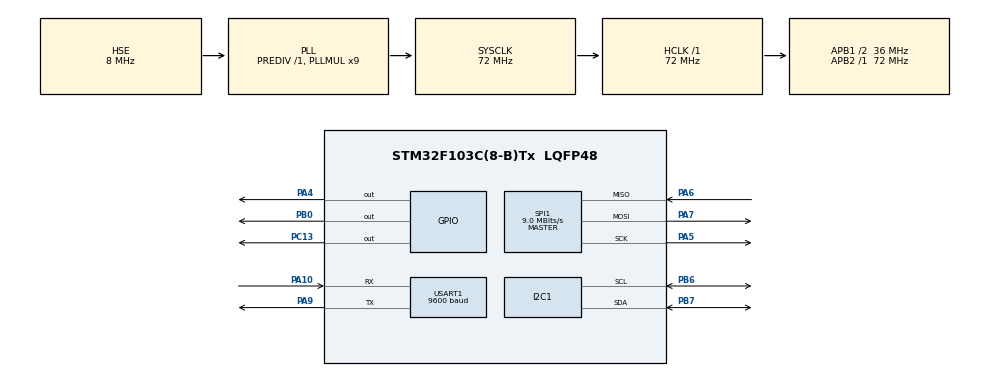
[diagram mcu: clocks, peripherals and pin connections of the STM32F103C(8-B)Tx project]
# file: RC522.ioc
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Mcu.Family=STM32F1
Mcu.Name=STM32F103C(8-B)Tx
Mcu.Package=LQFP48
NVIC.PriorityGroup=NVIC_PRIORITYGROUP_4
NVIC.USART1_IRQn=true\:0\:0\:false\:false\:true\:true\:true\:true
PA10.Mode=Asynchronous
PA10.Signal=USART1_RX
PA13.Mode=Serial_Wire
PA13.Signal=SYS_JTMS-SWDIO
PA14.Mode=Serial_Wire
PA14.Signal=SYS_JTCK-SWCLK
PA4.Signal=GPIO_Output
PA5.Mode=Full_Duplex_Master
PA5.Signal=SPI1_SCK
PA6.Mode=Full_Duplex_Master
PA6.Signal=SPI1_MISO
PA7.Mode=Full_Duplex_Master
PA7.Signal=SPI1_MOSI
PA9.Mode=Asynchronous
PA9.Signal=USART1_TX
PB0.Signal=GPIO_Output
PB6.Mode=I2C
PB6.Signal=I2C1_SCL
PB7.Mode=I2C
PB7.Signal=I2C1_SDA
PC13-TAMPER-RTC.Signal=GPIO_Output
PD0-OSC_IN.Mode=HSE-External-Oscillator
PD0-OSC_IN.Signal=RCC_OSC_IN
PD1-OSC_OUT.Mode=HSE-External-Oscillator
PD1-OSC_OUT.Signal=RCC_OSC_OUT
ProjectManager.HeapSize=0x200
ProjectManager.StackSize=0x400
ProjectManager.TargetToolchain=STM32CubeIDE
RCC.AHBFreq_Value=72000000
RCC.APB1CLKDivider=RCC_HCLK_DIV2
RCC.APB1Freq_Value=36000000
RCC.APB1TimFreq_Value=72000000
RCC.APB2Freq_Value=72000000
RCC.APB2TimFreq_Value=72000000
RCC.HCLKFreq_Value=72000000
RCC.PLLMUL=RCC_PLL_MUL9
RCC.PLLSourceVirtual=RCC_PLLSOURCE_HSE
RCC.SYSCLKFreq_VALUE=72000000
RCC.SYSCLKSource=RCC_SYSCLKSOURCE_PLLCLK
RCC.USBFreq_Value=72000000
SPI1.BaudRatePrescaler=SPI_BAUDRATEPRESCALER_8
SPI1.CalculateBaudRate=9.0 MBits/s
SPI1.Direction=SPI_DIRECTION_2LINES
SPI1.Mode=SPI_MODE_MASTER
SPI1.VirtualType=VM_MASTER
USART1.BaudRate=9600
USART1.VirtualMode=VM_ASYNC
board=custom

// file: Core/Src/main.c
/* USER CODE BEGIN Header */
/**
  ******************************************************************************
  * @file           : main.c
  * @brief          : Main program body
  ******************************************************************************
  * @attention
  *
  * Copyright (c) 2024 STMicroelectronics.
  * All rights reserved.
  *
  * This software is licensed under terms that can be found in the LICENSE file
  * in the root directory of this software component.
  * If no LICENSE file comes with this software, it is provided AS-IS.
  *
  ******************************************************************************
  */
/* USER CODE END Header */
#include "main.h"

/* USER CODE BEGIN Includes */
#include "liquidcrystal_i2c.h"
#include "Rc522.h"
#include "string.h"

/* USER CODE END Includes */

I2C_HandleTypeDef hi2c1;

SPI_HandleTypeDef hspi1;

UART_HandleTypeDef huart1;

/* USER CODE BEGIN PV */
uint8_t status1;
uint8_t status;
uint8_t status2;
uint8_t str[MAX_LEN]; // Max_LEN = 16
uint8_t sNum[5];
/* USER CODE END PV */

void SystemClock_Config(void);
static void MX_GPIO_Init(void);
static void MX_SPI1_Init(void);
static void MX_I2C1_Init(void);
static void MX_USART1_UART_Init(void);
/* USER CODE BEGIN PFP */
uint8_t buff_tx[] = "stm32_to_esp32\n";
uint8_t buff_rx[30];
uint8_t data_rx[30];
uint32_t count;
uint8_t rx_index = 0;
uint32_t tm=0,tt= 0;
uint32_t counter = 0; // Biến lưu số tick (mili giây)
/* USER CODE END PFP */

/* USER CODE BEGIN 0 */
void HAL_UART_RxCpltCallback(UART_HandleTypeDef *huart)
{
//	if(huart->Instance == USART1)
//	{
//		buff_rx[rx_index] = data_rx;
//		rx_index ++;
//		HAL_UART_Receive_IT(&huart, &data_rx, sizeof(data_rx),1000);
//	}
}
/* USER CODE END 0 */

int main(void)
{

  /* MCU Configuration--------------------------------------------------------*/

  /* Reset of all peripherals, Initializes the Flash interface and the Systick. */
  HAL_Init();

  /* Configure the system clock */
  SystemClock_Config();

  /* Initialize all configured peripherals */
  MX_GPIO_Init();
  MX_SPI1_Init();
  MX_I2C1_Init();
  MX_USART1_UART_Init();
  /* USER CODE BEGIN 2 */
  MFRC522_Init();
  HD44780_Init(2);
//  HAL_UART_Receive(&huart1,data_rx,sizeof(data_rx),1000);

  /* USER CODE END 2 */

  /* Infinite loop */
  /* USER CODE BEGIN WHILE */
  while (1)
  {
//	  memset((void*)data_rx,0,sizeof(data_rx));
//	  HAL_UART_Receive(&huart1,(uint8_t*)data_rx,sizeof(data_rx),1000);
//	  //HAL_Delay(2000);
//	  if(strlen((char*)data_rx)>5)
//	  {
//		  HAL_UART_Transmit(&huart1,buff_rx,strlen((char*)buff_rx) + 1  ,HAL_MAX_DELAY);
//		  HAL_UART_Transmit(&huart1,data_rx,strlen((char*)data_rx) + 1  ,HAL_MAX_DELAY);
//		  HD44780_SetCursor(0,0);
//		  HD44780_PrintStr(	(char*)data_rx);
//	  }
//	  HAL_Delay(20);
				status = MFRC522_Request(PICC_REQIDL, str);
				status = MFRC522_Anticoll(str);
				memcpy(sNum, str, 5);
//	//	  	    HAL_Delay(100);
				 if((str[0]==1) && (str[1]==193) && (str[2]==227) && (str[3]==38) && (str[4]==5) )
				 {
				   //HAL_GPIO_WritePin(GPIOC,GPIO_PIN_13,0);
				   HAL_Delay(100);
				   HD44780_Clear();
				   HD44780_SetCursor(0,0);
				   HD44780_PrintStr("ON");
				   HAL_Delay(500);
//					  memset((void*)data_rx,0,sizeof(data_rx));
//					  HAL_UART_Receive(&huart1,(uint8_t*)data_rx,sizeof(data_rx),1000);
//					  //HAL_Delay(2000);
//					  if(strlen((char*)data_rx)>5)
//					  {
//						  HAL_UART_Transmit(&huart1,buff_rx,strlen((char*)buff_rx) + 1  ,HAL_MAX_DELAY);
//						  HAL_UART_Transmit(&huart1,data_rx,strlen((char*)data_rx) + 1  ,HAL_MAX_DELAY);
//						  HD44780_SetCursor(0,0);
//						  HD44780_PrintStr(	(char*)data_rx);
//					  }
//					  HAL_Delay(20);
				   }
				 else if((str[0]==147) && (str[1]==132) && (str[2]==128) && (str[3]==0) && (str[4]==0) )
				   {
				   HAL_GPIO_WritePin(GPIOC,GPIO_PIN_13,0);
				 }
				 else
				 {
					HAL_GPIO_WritePin(GPIOC,GPIO_PIN_13,1);
					HD44780_Clear();
					HD44780_SetCursor(0,0);
					HD44780_PrintStr("OFF");
					HAL_Delay(20);
				}
  }
    /* USER CODE END WHILE */

    /* USER CODE BEGIN 3 */
//  }
  /* USER CODE END 3 */
}

void SystemClock_Config(void)
{
  RCC_OscInitTypeDef RCC_OscInitStruct = {0};
  RCC_ClkInitTypeDef RCC_ClkInitStruct = {0};

  /** Initializes the RCC Oscillators according to the specified parameters
  * in the RCC_OscInitTypeDef structure.
  */
  RCC_OscInitStruct.OscillatorType = RCC_OSCILLATORTYPE_HSE;
  RCC_OscInitStruct.HSEState = RCC_HSE_ON;
  RCC_OscInitStruct.HSEPredivValue = RCC_HSE_PREDIV_DIV1;
  RCC_OscInitStruct.HSIState = RCC_HSI_ON;
  RCC_OscInitStruct.PLL.PLLState = RCC_PLL_ON;
  RCC_OscInitStruct.PLL.PLLSource = RCC_PLLSOURCE_HSE;
  RCC_OscInitStruct.PLL.PLLMUL = RCC_PLL_MUL9;
  if (HAL_RCC_OscConfig(&RCC_OscInitStruct) != HAL_OK)
  {
    Error_Handler();
  }

  /** Initializes the CPU, AHB and APB buses clocks
  */
  RCC_ClkInitStruct.ClockType = RCC_CLOCKTYPE_HCLK|RCC_CLOCKTYPE_SYSCLK
                              |RCC_CLOCKTYPE_PCLK1|RCC_CLOCKTYPE_PCLK2;
  RCC_ClkInitStruct.SYSCLKSource = RCC_SYSCLKSOURCE_PLLCLK;
  RCC_ClkInitStruct.AHBCLKDivider = RCC_SYSCLK_DIV1;
  RCC_ClkInitStruct.APB1CLKDivider = RCC_HCLK_DIV2;
  RCC_ClkInitStruct.APB2CLKDivider = RCC_HCLK_DIV1;

  if (HAL_RCC_ClockConfig(&RCC_ClkInitStruct, FLASH_LATENCY_2) != HAL_OK)
  {
    Error_Handler();
  }
}

static void MX_I2C1_Init(void)
{

  hi2c1.Instance = I2C1;
  hi2c1.Init.ClockSpeed = 100000;
  hi2c1.Init.DutyCycle = I2C_DUTYCYCLE_2;
  hi2c1.Init.OwnAddress1 = 0;
  hi2c1.Init.AddressingMode = I2C_ADDRESSINGMODE_7BIT;
  hi2c1.Init.DualAddressMode = I2C_DUALADDRESS_DISABLE;
  hi2c1.Init.OwnAddress2 = 0;
  hi2c1.Init.GeneralCallMode = I2C_GENERALCALL_DISABLE;
  hi2c1.Init.NoStretchMode = I2C_NOSTRETCH_DISABLE;
  if (HAL_I2C_Init(&hi2c1) != HAL_OK)
  {
    Error_Handler();
  }

}

static void MX_SPI1_Init(void)
{

  /* SPI1 parameter configuration*/
  hspi1.Instance = SPI1;
  hspi1.Init.Mode = SPI_MODE_MASTER;
  hspi1.Init.Direction = SPI_DIRECTION_2LINES;
  hspi1.Init.DataSize = SPI_DATASIZE_8BIT;
  hspi1.Init.CLKPolarity = SPI_POLARITY_LOW;
  hspi1.Init.CLKPhase = SPI_PHASE_1EDGE;
  hspi1.Init.NSS = SPI_NSS_SOFT;
  hspi1.Init.BaudRatePrescaler = SPI_BAUDRATEPRESCALER_8;
  hspi1.Init.FirstBit = SPI_FIRSTBIT_MSB;
  hspi1.Init.TIMode = SPI_TIMODE_DISABLE;
  hspi1.Init.CRCCalculation = SPI_CRCCALCULATION_DISABLE;
  hspi1.Init.CRCPolynomial = 10;
  if (HAL_SPI_Init(&hspi1) != HAL_OK)
  {
    Error_Handler();
  }

}

static void MX_USART1_UART_Init(void)
{

  huart1.Instance = USART1;
  huart1.Init.BaudRate = 9600;
  huart1.Init.WordLength = UART_WORDLENGTH_8B;
  huart1.Init.StopBits = UART_STOPBITS_1;
  huart1.Init.Parity = UART_PARITY_NONE;
  huart1.Init.Mode = UART_MODE_TX_RX;
  huart1.Init.HwFlowCtl = UART_HWCONTROL_NONE;
  huart1.Init.OverSampling = UART_OVERSAMPLING_16;
  if (HAL_UART_Init(&huart1) != HAL_OK)
  {
    Error_Handler();
  }

}

static void MX_GPIO_Init(void)
{
  GPIO_InitTypeDef GPIO_InitStruct = {0};

  /* GPIO Ports Clock Enable */
  __HAL_RCC_GPIOC_CLK_ENABLE();
  __HAL_RCC_GPIOD_CLK_ENABLE();
  __HAL_RCC_GPIOA_CLK_ENABLE();
  __HAL_RCC_GPIOB_CLK_ENABLE();

  /*Configure GPIO pin Output Level */
  HAL_GPIO_WritePin(GPIOC, GPIO_PIN_13, GPIO_PIN_RESET);

  /*Configure GPIO pin Output Level */
  HAL_GPIO_WritePin(GPIOA, GPIO_PIN_4, GPIO_PIN_RESET);

  /*Configure GPIO pin Output Level */
  HAL_GPIO_WritePin(GPIOB, GPIO_PIN_0, GPIO_PIN_RESET);

  /*Configure GPIO pin : PC13 */
  GPIO_InitStruct.Pin = GPIO_PIN_13;
  GPIO_InitStruct.Mode = GPIO_MODE_OUTPUT_PP;
  GPIO_InitStruct.Pull = GPIO_NOPULL;
  GPIO_InitStruct.Speed = GPIO_SPEED_FREQ_LOW;
  HAL_GPIO_Init(GPIOC, &GPIO_InitStruct);

  /*Configure GPIO pin : PA4 */
  GPIO_InitStruct.Pin = GPIO_PIN_4;
  GPIO_InitStruct.Mode = GPIO_MODE_OUTPUT_PP;
  GPIO_InitStruct.Pull = GPIO_NOPULL;
  GPIO_InitStruct.Speed = GPIO_SPEED_FREQ_LOW;
  HAL_GPIO_Init(GPIOA, &GPIO_InitStruct);

  /*Configure GPIO pin : PB0 */
  GPIO_InitStruct.Pin = GPIO_PIN_0;
  GPIO_InitStruct.Mode = GPIO_MODE_OUTPUT_PP;
  GPIO_InitStruct.Pull = GPIO_NOPULL;
  GPIO_InitStruct.Speed = GPIO_SPEED_FREQ_LOW;
  HAL_GPIO_Init(GPIOB, &GPIO_InitStruct);

}

void Error_Handler(void)
{
  __disable_irq();
  while (1)
  {
  }
}
